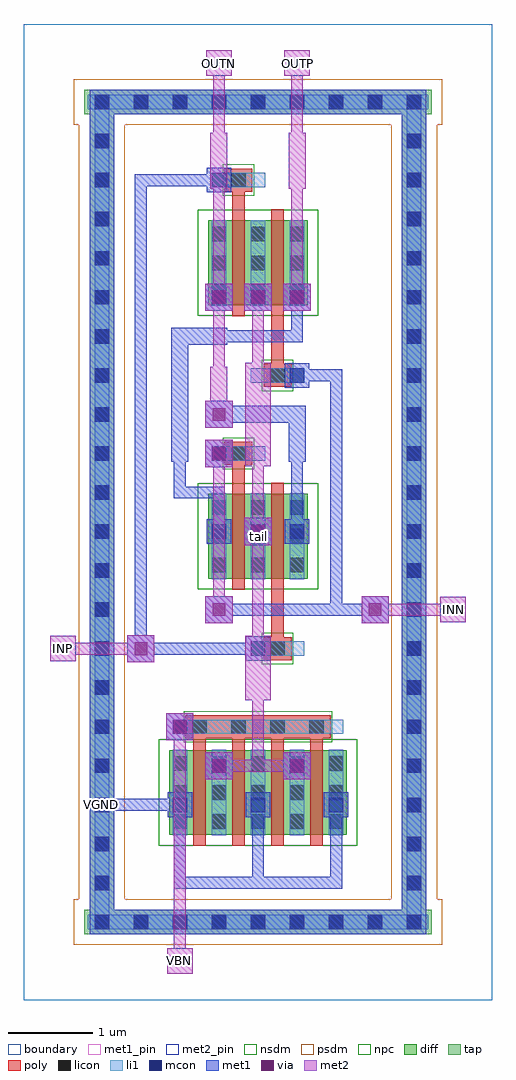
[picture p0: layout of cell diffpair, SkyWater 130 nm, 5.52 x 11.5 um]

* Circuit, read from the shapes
.subckt diffpair INN INP OUTN OUTP VBN VGND tail
XM1 tail VBN VGND VGND sky130_fd_pr__nfet_01v8 w=1 l=0.15 m=4
XM2 tail INN OUTP VGND sky130_fd_pr__nfet_01v8 w=1 l=0.15 m=2
XM3 tail INP OUTN VGND sky130_fd_pr__nfet_01v8 w=1 l=0.15 m=2
.ends

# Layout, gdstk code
import gdstk
lib = gdstk.Library(unit=1e-6, precision=1e-09)
def R(c, l, rs):  # rectangles x0, y0, x1, y1
    for r in rs: c.add(gdstk.rectangle(r[:2], r[2:], *l))
def A(c, l, x, y, w, h, nx, ny, dx, dy):  # array of equal rectangles
    R(c, l, [(x+i*dx, y+j*dy, x+i*dx+w, y+j*dy+h) for i in range(nx) for j in range(ny)])
diff = (65, 20)
tap = (65, 44)
poly = (66, 20)
licon = (66, 44)
li1 = (67, 20)
mcon = (67, 44)
met1_pin = (68, 16)
met1 = (68, 20)
via = (68, 44)
met2_pin = (69, 16)
met2 = (69, 20)
nsdm = (93, 44)
psdm = (94, 20)
npc = (95, 20)
boundary = (235, 4)

diffpair = lib.new_cell('diffpair')
R(diffpair, diff, [(1.715,1.945,3.805,2.945), (2.175,4.965,3.345,5.965), (2.175,8.185,3.345,9.185)])
R(diffpair, tap, [(0.715,0.775,4.805,1.065), (0.775,0.775,1.065,10.725), (4.455,0.775,4.745,10.725), (0.715,10.435,4.805,10.725)])
A(diffpair, poly, 1.995, 1.815, 0.15, 1.405, 4, 1, 0.46, 0)
R(diffpair, poly, [(1.905,3.085,3.615,3.355), (2.825,4.005,3.155,4.275), (2.915,4.14,3.065,6.095), (2.455,4.835,2.605,6.44), (2.365,6.305,2.695,6.575), (2.825,7.225,3.155,7.495), (2.915,7.36,3.065,9.315), (2.455,8.055,2.605,9.66), (2.365,9.525,2.695,9.795)])
A(diffpair, licon, 0.835, 0.835, 0.17, 0.17, 9, 2, 0.46, 9.66)
A(diffpair, licon, 0.835, 1.295, 0.17, 0.17, 1, 20, 0, 0.46)
A(diffpair, licon, 4.515, 1.295, 0.17, 0.17, 1, 20, 0, 0.46)
A(diffpair, licon, 1.755, 2.02, 0.17, 0.17, 5, 3, 0.46, 0.34)
A(diffpair, licon, 1.985, 3.135, 0.17, 0.17, 4, 1, 0.46, 0)
A(diffpair, licon, 2.215, 5.04, 0.17, 0.17, 3, 3, 0.46, 0.34)
A(diffpair, licon, 2.215, 8.26, 0.17, 0.17, 3, 3, 0.46, 0.34)
R(diffpair, licon, [(2.905,4.055,3.075,4.225), (2.445,6.355,2.615,6.525), (2.905,7.275,3.075,7.445), (2.445,9.575,2.615,9.745)])
A(diffpair, li1, 1.755, 1.94, 0.17, 1.01, 5, 1, 0.46, 0)
A(diffpair, li1, 2.215, 4.96, 0.17, 1.01, 3, 2, 0.46, 3.22)
R(diffpair, li1, [(0.755,0.835,4.765,1.005), (0.835,0.835,1.005,10.665), (4.515,0.835,4.685,10.665), (1.755,3.135,3.765,3.305), (2.675,4.055,3.305,4.225), (2.215,6.355,2.845,6.525), (2.675,7.275,3.305,7.445), (2.215,9.575,2.845,9.745), (0.755,10.495,4.765,10.665)])
A(diffpair, mcon, 0.835, 0.835, 0.17, 0.17, 9, 2, 0.46, 9.66)
A(diffpair, mcon, 0.835, 2.215, 0.17, 0.17, 5, 1, 0.92, 0)
A(diffpair, mcon, 0.835, 2.675, 0.17, 0.17, 1, 3, 0, 0.46)
A(diffpair, mcon, 4.515, 2.675, 0.17, 0.17, 1, 3, 0, 0.46)
A(diffpair, mcon, 0.835, 4.055, 0.17, 0.17, 3, 1, 1.84, 0)
A(diffpair, mcon, 0.835, 4.515, 0.17, 0.17, 1, 13, 0, 0.46)
A(diffpair, mcon, 4.515, 4.515, 0.17, 0.17, 1, 13, 0, 0.46)
A(diffpair, mcon, 2.215, 5.435, 0.17, 0.17, 3, 2, 0.46, 2.76)
R(diffpair, mcon, [(0.835,1.295,1.005,1.465), (4.515,1.295,4.685,1.465), (0.835,1.755,1.005,1.925), (4.515,1.755,4.685,1.925), (2.215,2.675,2.385,2.845), (3.135,2.675,3.305,2.845), (1.755,3.135,1.925,3.305), (2.215,6.355,2.385,6.525), (3.135,7.275,3.305,7.445), (2.215,9.575,2.385,9.745)])
R(diffpair, met1_pin, [(0.85,2.23,0.99,2.37)])
A(diffpair, met1, 1.77, 1.31, 0.14, 1.06, 3, 1, 0.92, 0)
A(diffpair, met1, 1.695, 2.155, 0.29, 0.29, 3, 1, 0.92, 0)
A(diffpair, met1, 2.14, 2.6, 0.32, 0.32, 1, 3, 0, 1.84)
A(diffpair, met1, 2.155, 5.375, 0.29, 0.29, 3, 2, 0.46, 2.76)
A(diffpair, met1, 2.14, 8.12, 0.32, 0.32, 3, 1, 0.46, 0)
R(diffpair, met1, [(0.775,0.775,4.745,1.065), (0.775,0.775,1.065,10.725), (4.455,0.775,4.745,10.725), (1.77,1.31,2.83,1.45), (2.69,1.31,3.75,1.45), (0.85,2.23,1.91,2.37), (0.85,2.23,0.99,2.37), (0.85,2.23,0.99,10.65), (3.06,2.6,3.38,2.92), (2.155,2.615,2.445,2.905), (3.075,2.615,3.365,2.905), (1.68,3.06,2,3.38), (1.695,3.075,1.985,3.365), (1.22,3.98,1.54,4.3), (2.615,3.995,2.905,4.285), (1.31,4.07,2.83,4.21), (1.31,4.07,1.45,9.73), (3.98,4.44,4.3,4.76), (2.23,4.53,4.21,4.67), (3.61,4.53,3.75,7.43), (2.6,5.36,2.92,5.68), (2.23,5.45,2.37,6.05), (3.15,5.45,3.29,6.51), (1.77,5.91,1.91,6.51), (1.77,5.91,2.37,6.05), (2.155,6.295,2.445,6.585), (1.74,6.34,1.94,7.92), (3.12,6.34,3.32,7), (2.14,6.74,2.46,7.06), (2.2,6.8,3.32,7), (3.075,7.215,3.365,7.505), (3.15,7.29,3.75,7.43), (1.74,7.72,2.4,7.92), (2.23,7.75,3.29,7.89), (3.15,7.75,3.29,8.35), (2.155,9.515,2.445,9.805), (1.31,9.59,2.37,9.73), (0.775,10.435,4.745,10.725), (0.85,10.51,0.99,10.65)])
A(diffpair, via, 2.225, 2.685, 0.15, 0.15, 1, 3, 0, 1.84)
A(diffpair, via, 2.225, 8.205, 0.15, 0.15, 3, 1, 0.46, 0)
R(diffpair, via, [(3.145,2.685,3.295,2.835), (1.765,3.145,1.915,3.295), (1.305,4.065,1.455,4.215), (4.065,4.525,4.215,4.675), (2.685,5.445,2.835,5.595), (2.225,6.825,2.375,6.975)])
R(diffpair, met2_pin, [(1.69,0.31,1.99,0.61), (0.31,3.99,0.61,4.29), (4.91,4.45,5.21,4.75), (2.15,10.89,2.45,11.19), (3.07,10.89,3.37,11.19)])
A(diffpair, met2, 2.14, 2.6, 0.32, 0.32, 1, 3, 0, 1.84)
A(diffpair, met2, 2.14, 8.12, 0.32, 0.32, 3, 1, 0.46, 0)
R(diffpair, met2, [(1.69,0.31,1.99,0.61), (1.77,0.39,1.91,0.53), (1.77,0.39,1.91,3.29), (3.06,2.6,3.38,2.92), (2.23,2.69,2.83,2.83), (2.69,2.69,2.83,3.75), (2.69,2.69,3.29,2.83), (1.68,3.06,2,3.38), (2.61,3.53,2.91,4.29), (1.22,3.98,1.54,4.3), (0.31,3.99,0.61,4.29), (0.39,4.07,0.53,4.21), (0.39,4.07,1.45,4.21), (2.69,4.07,2.83,5.59), (3.98,4.44,4.3,4.76), (4.91,4.45,5.21,4.75), (2.23,4.53,2.37,6.51), (4.07,4.53,5.13,4.67), (4.99,4.53,5.13,4.67), (2.6,5.36,2.92,5.68), (2.69,5.45,2.83,6.51), (2.61,6.29,2.91,7.51), (2.14,6.74,2.46,7.06), (2.2,6.8,2.4,7.46), (2.23,7.29,2.37,8.35), (2.69,7.29,2.83,8.35), (2.23,8.21,2.37,9.73), (3.15,8.21,3.29,9.73), (2.2,9.56,2.4,10.22), (3.12,9.56,3.32,10.22), (2.23,10.05,2.37,11.11), (3.15,10.05,3.29,11.11), (2.15,10.89,2.45,11.19), (3.07,10.89,3.37,11.19), (2.23,10.97,2.37,11.11), (3.15,10.97,3.29,11.11)])
R(diffpair, nsdm, [(1.59,1.82,3.93,3.07), (2.05,4.84,3.47,6.09), (2.05,8.06,3.47,9.31)])
R(diffpair, psdm, [(0.59,0.65,4.93,1.19), (0.65,1.19,1.19,10.31), (4.33,1.19,4.87,10.31), (0.59,10.31,4.93,10.85)])
R(diffpair, npc, [(1.885,3.035,3.635,3.405), (2.805,3.955,3.175,4.325), (2.345,6.255,2.715,6.625), (2.805,7.175,3.175,7.545), (2.345,9.475,2.715,9.845)])
R(diffpair, boundary, [(0,0,5.52,11.5)])
diffpair.add(gdstk.Label('tail', (2.76,5.465), layer=67, texttype=5))
diffpair.add(gdstk.Label('VGND', (0.92,2.3), layer=68, texttype=5))
diffpair.add(gdstk.Label('INP', (0.46,4.14), layer=69, texttype=5))
diffpair.add(gdstk.Label('INN', (5.06,4.6), layer=69, texttype=5))
diffpair.add(gdstk.Label('VBN', (1.84,0.46), layer=69, texttype=5))
diffpair.add(gdstk.Label('OUTP', (3.22,11.04), layer=69, texttype=5))
diffpair.add(gdstk.Label('OUTN', (2.3,11.04), layer=69, texttype=5))
diffpair.add(gdstk.Label('VGND', (0.92,2.3), layer=68, texttype=16))
diffpair.add(gdstk.Label('INP', (0.46,4.14), layer=69, texttype=16))
diffpair.add(gdstk.Label('INN', (5.06,4.6), layer=69, texttype=16))
diffpair.add(gdstk.Label('VBN', (1.84,0.46), layer=69, texttype=16))
diffpair.add(gdstk.Label('OUTP', (3.22,11.04), layer=69, texttype=16))
diffpair.add(gdstk.Label('OUTN', (2.3,11.04), layer=69, texttype=16))

lib.write_gds('diffpair.gds')
